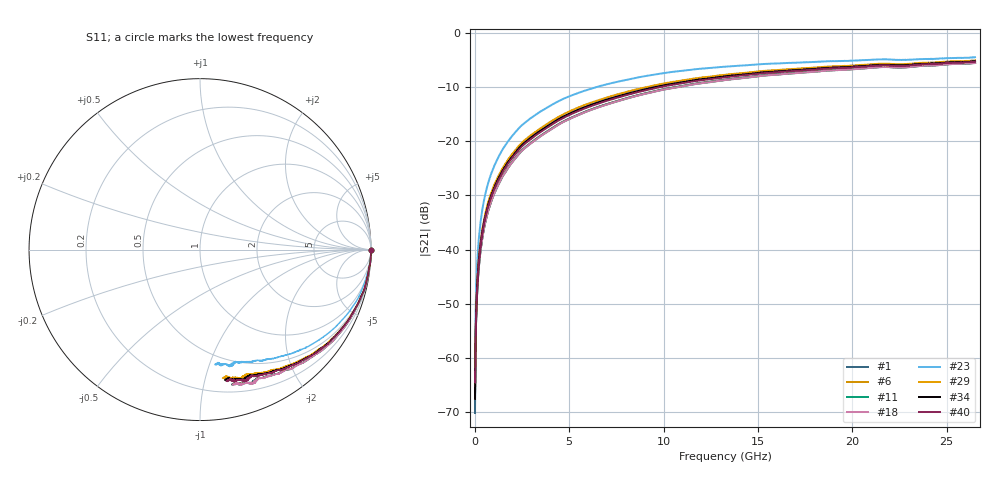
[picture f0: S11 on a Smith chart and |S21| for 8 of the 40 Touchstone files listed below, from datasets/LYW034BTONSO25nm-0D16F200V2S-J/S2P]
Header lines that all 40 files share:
!Keysight Technologies,N5222B,MY61253708,A.15.00.15
!Correction: S11(C  2-Port  )
!S21(C  2-Port  )
!S12(C  2-Port  )
!S22(C  2-Port  )
!S2P File: Measurements: S11, S21, S12, S22:
# Hz S  RI  R 50
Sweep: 10 MHz to 26.5 GHz
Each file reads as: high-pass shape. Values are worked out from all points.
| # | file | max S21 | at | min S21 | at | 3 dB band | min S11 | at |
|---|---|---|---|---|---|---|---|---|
| 1 | LYW034BTONSO25nm_0D16F200V2S_J_160V_dev.s2p | -5.42 dB | 26.5 GHz | -70.3 dB | 10 MHz | 13.58 GHz-26.5 GHz | -1.9 dB | 25.5 GHz |
| 2 | LYW034BTONSO25nm_0D16F200V2S_J_162V_dev.s2p | -5.42 dB | 26.5 GHz | -65.9 dB | 10 MHz | 13.62 GHz-26.5 GHz | -1.9 dB | 25.5 GHz |
| 3 | LYW034BTONSO25nm_0D16F200V2S_J_164V_dev.s2p | -5.42 dB | 26.5 GHz | -65.5 dB | 10 MHz | 13.62 GHz-26.5 GHz | -1.9 dB | 25.5 GHz |
| 4 | LYW034BTONSO25nm_0D16F200V2S_J_166V_dev.s2p | -5.42 dB | 26.5 GHz | -80.8 dB | 10 MHz | 13.57 GHz-26.5 GHz | -1.9 dB | 25.5 GHz |
| 5 | LYW034BTONSO25nm_0D16F200V2S_J_168V_dev.s2p | -5.43 dB | 26.5 GHz | -72.2 dB | 10 MHz | 13.57 GHz-26.5 GHz | -1.9 dB | 25.5 GHz |
| 6 | LYW034BTONSO25nm_0D16F200V2S_J_170V_dev.s2p | -5.44 dB | 26.5 GHz | -67.1 dB | 10 MHz | 13.62 GHz-26.5 GHz | -1.9 dB | 25.5 GHz |
| 7 | LYW034BTONSO25nm_0D16F200V2S_J_172V_dev.s2p | -5.45 dB | 26.5 GHz | -70.3 dB | 10 MHz | 13.63 GHz-26.5 GHz | -1.9 dB | 25.5 GHz |
| 8 | LYW034BTONSO25nm_0D16F200V2S_J_174V_dev.s2p | -5.45 dB | 26.5 GHz | -73.0 dB | 10 MHz | 13.63 GHz-26.5 GHz | -1.9 dB | 25.5 GHz |
| 9 | LYW034BTONSO25nm_0D16F200V2S_J_176V_dev.s2p | -5.46 dB | 26.5 GHz | -70.7 dB | 10 MHz | 13.69 GHz-26.5 GHz | -1.9 dB | 25.5 GHz |
| 10 | LYW034BTONSO25nm_0D16F200V2S_J_178V_dev.s2p | -5.46 dB | 26.5 GHz | -66.4 dB | 10 MHz | 13.69 GHz-26.5 GHz | -1.9 dB | 25.5 GHz |
| 11 | LYW034BTONSO25nm_0D16F200V2S_J_180V_dev.s2p | -5.46 dB | 26.5 GHz | -67.4 dB | 10 MHz | 13.69 GHz-26.5 GHz | -1.9 dB | 25.5 GHz |
| 12 | LYW034BTONSO25nm_0D16F200V2S_J_182V_dev.s2p | -5.46 dB | 26.5 GHz | -70.2 dB | 10 MHz | 13.69 GHz-26.5 GHz | -1.9 dB | 25.5 GHz |
| 13 | LYW034BTONSO25nm_0D16F200V2S_J_184V_dev.s2p | -5.46 dB | 26.5 GHz | -67.9 dB | 10 MHz | 13.69 GHz-26.5 GHz | -1.9 dB | 25.5 GHz |
| 14 | LYW034BTONSO25nm_0D16F200V2S_J_186V_dev.s2p | -5.45 dB | 26.5 GHz | -67.7 dB | 10 MHz | 13.69 GHz-26.5 GHz | -1.9 dB | 25.5 GHz |
| 15 | LYW034BTONSO25nm_0D16F200V2S_J_188V_dev.s2p | -5.46 dB | 26.5 GHz | -67.4 dB | 10 MHz | 13.69 GHz-26.5 GHz | -1.9 dB | 25.5 GHz |
| 16 | LYW034BTONSO25nm_0D16F200V2S_J_190V_dev.s2p | -5.46 dB | 26.5 GHz | -70.2 dB | 10 MHz | 13.7 GHz-26.5 GHz | -1.9 dB | 25.5 GHz |
| 17 | LYW034BTONSO25nm_0D16F200V2S_J_192V_dev.s2p | -5.46 dB | 26.5 GHz | -64.6 dB | 10 MHz | 13.69 GHz-26.5 GHz | -1.9 dB | 25.5 GHz |
| 18 | LYW034BTONSO25nm_0D16F200V2S_J_194V_dev.s2p | -5.47 dB | 26.5 GHz | -65.1 dB | 10 MHz | 13.7 GHz-26.5 GHz | -1.9 dB | 25.5 GHz |
| 19 | LYW034BTONSO25nm_0D16F200V2S_J_196V_dev.s2p | -5.46 dB | 26.5 GHz | -64.8 dB | 10 MHz | 13.7 GHz-26.5 GHz | -1.9 dB | 25.5 GHz |
| 20 | LYW034BTONSO25nm_0D16F200V2S_J_198V_dev.s2p | -5.47 dB | 26.5 GHz | -71.4 dB | 10 MHz | 13.7 GHz-26.5 GHz | -1.9 dB | 25.5 GHz |
| 21 | LYW034BTONSO25nm_0D16F200V2S_J_200V_dev.s2p | -5.47 dB | 26.5 GHz | -70.0 dB | 10 MHz | 13.7 GHz-26.5 GHz | -1.9 dB | 25.5 GHz |
| 22 | LYW034BTONSO25nm_0D16F200V2S_J_N2V_dev.s2p | -4.30 dB | 26.38 GHz | -65.1 dB | 10 MHz | 9.556 GHz-26.5 GHz | -3.7 dB | 25.49 GHz |
| 23 | LYW034BTONSO25nm_0D16F200V2S_J_N4V_dev.s2p | -4.41 dB | 26.38 GHz | -64.0 dB | 10 MHz | 9.886 GHz-26.5 GHz | -3.5 dB | 25.49 GHz |
| 24 | LYW034BTONSO25nm_0D16F200V2S_J_N6V_dev.s2p | -4.53 dB | 26.38 GHz | -61.1 dB | 10 MHz | 10.88 GHz-26.5 GHz | -3.1 dB | 25.49 GHz |
| 25 | LYW034BTONSO25nm_0D16F200V2S_J_N8V_dev.s2p | -4.66 dB | 26.5 GHz | -65.5 dB | 10 MHz | 11.47 GHz-26.5 GHz | -2.9 dB | 25.5 GHz |
| 26 | LYW034BTONSO25nm_0D16F200V2S_J_N10V_dev.s2p | -4.77 dB | 26.5 GHz | -71.3 dB | 10 MHz | 11.87 GHz-26.5 GHz | -2.7 dB | 25.5 GHz |
| 27 | LYW034BTONSO25nm_0D16F200V2S_J_N12V_dev.s2p | -4.86 dB | 26.5 GHz | -66.5 dB | 10 MHz | 12.17 GHz-26.5 GHz | -2.6 dB | 25.5 GHz |
| 28 | LYW034BTONSO25nm_0D16F200V2S_J_N14V_dev.s2p | -4.93 dB | 26.5 GHz | -63.3 dB | 20 MHz | 12.35 GHz-26.5 GHz | -2.5 dB | 25.5 GHz |
| 29 | LYW034BTONSO25nm_0D16F200V2S_J_N16V_dev.s2p | -4.99 dB | 26.5 GHz | -65.9 dB | 10 MHz | 12.48 GHz-26.5 GHz | -2.4 dB | 25.5 GHz |
| 30 | LYW034BTONSO25nm_0D16F200V2S_J_N18V_dev.s2p | -5.03 dB | 26.5 GHz | -68.9 dB | 10 MHz | 12.59 GHz-26.5 GHz | -2.4 dB | 25.5 GHz |
| 31 | LYW034BTONSO25nm_0D16F200V2S_J_N20V_dev.s2p | -5.07 dB | 26.5 GHz | -64.5 dB | 10 MHz | 12.65 GHz-26.5 GHz | -2.4 dB | 25.5 GHz |
| 32 | LYW034BTONSO25nm_0D16F200V2S_J_N22V_dev.s2p | -5.10 dB | 26.5 GHz | -69.4 dB | 10 MHz | 12.75 GHz-26.5 GHz | -2.3 dB | 25.5 GHz |
| 33 | LYW034BTONSO25nm_0D16F200V2S_J_N24V_dev.s2p | -5.12 dB | 26.5 GHz | -66.7 dB | 10 MHz | 12.77 GHz-26.5 GHz | -2.3 dB | 25.5 GHz |
| 34 | LYW034BTONSO25nm_0D16F200V2S_J_N26V_dev.s2p | -5.15 dB | 26.5 GHz | -67.6 dB | 10 MHz | 12.82 GHz-26.5 GHz | -2.3 dB | 25.5 GHz |
| 35 | LYW034BTONSO25nm_0D16F200V2S_J_N28V_dev.s2p | -5.16 dB | 26.5 GHz | -69.7 dB | 10 MHz | 12.87 GHz-26.5 GHz | -2.3 dB | 25.5 GHz |
| 36 | LYW034BTONSO25nm_0D16F200V2S_J_N30V_dev.s2p | -5.18 dB | 26.5 GHz | -66.8 dB | 10 MHz | 12.88 GHz-26.5 GHz | -2.3 dB | 25.5 GHz |
| 37 | LYW034BTONSO25nm_0D16F200V2S_J_N32V_dev.s2p | -5.20 dB | 26.5 GHz | -66.1 dB | 10 MHz | 12.94 GHz-26.5 GHz | -2.2 dB | 25.5 GHz |
| 38 | LYW034BTONSO25nm_0D16F200V2S_J_N34V_dev.s2p | -5.21 dB | 26.5 GHz | -67.3 dB | 10 MHz | 12.94 GHz-26.5 GHz | -2.2 dB | 25.5 GHz |
| 39 | LYW034BTONSO25nm_0D16F200V2S_J_N36V_dev.s2p | -5.23 dB | 26.5 GHz | -66.4 dB | 10 MHz | 12.98 GHz-26.5 GHz | -2.2 dB | 25.5 GHz |
| 40 | LYW034BTONSO25nm_0D16F200V2S_J_N38V_dev.s2p | -5.24 dB | 26.5 GHz | -64.7 dB | 20 MHz | 12.99 GHz-26.5 GHz | -2.2 dB | 25.5 GHz |
